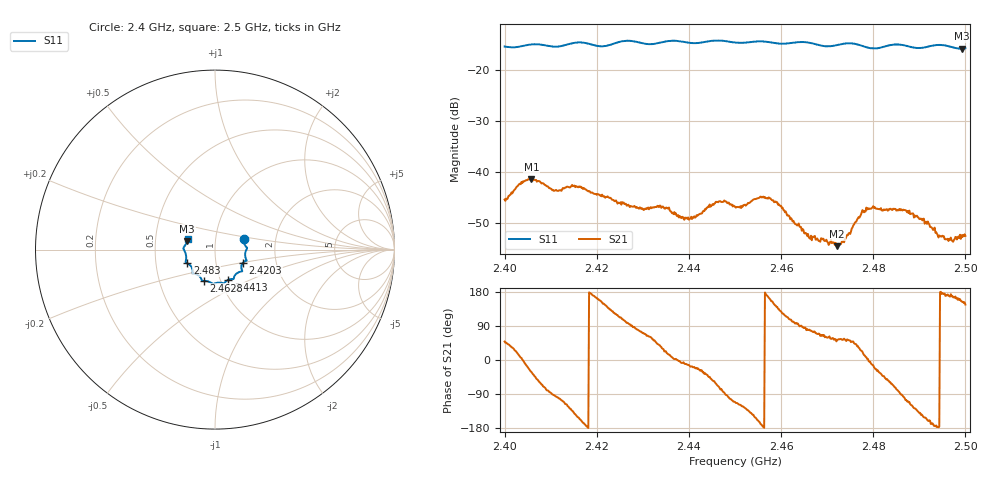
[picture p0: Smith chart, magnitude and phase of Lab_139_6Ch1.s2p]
# Hz S RI R 50
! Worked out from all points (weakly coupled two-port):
!   601 points, 2.4 GHz to 2.5 GHz, reference 50 ohm
!   highest |S21| = -41.29 dB at 2.4058 GHz (marker M1); lowest = -54.5 dB at 2.4722 GHz (marker M2)
!   lowest |S11| = -15.8 dB at 2.4992 GHz (marker M3), VSWR 1.39, Z = 36.4 + j3.53 ohm
!   |S11| at or under -10 dB: start of sweep to end of sweep
!   S12 and S22 are empty: the file has one direction only
!   S11 on the Smith chart (normalised r, x): 2.4 GHz: 1.37, +0.16; 2.4203 GHz: 1.35, -0.21; 2.4413 GHz: 1.09, -0.38; 2.4628 GHz: 0.83, -0.30; 2.483 GHz: 0.72, -0.11; 2.5 GHz: 0.73, +0.09
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2.4e9  0.1606 0.0568  0.00357 0.00407  0 0  0 0
2.405833e9  0.178 0.0107  0.00732 -0.00455  0 0  0 0
2.410833e9  0.1684 -0.0191  -0.000374 -0.00658  0 0  0 0
2.416667e9  0.176 -0.0613  -0.00664 -0.00237  0 0  0 0
2.420333e9  0.1552 -0.0738  -0.00573 0.00201  0 0  0 0
2.430167e9  0.131 -0.1268  0.00138 0.00404  0 0  0 0
2.433333e9  0.1079 -0.1484  0.00349 0.00308  0 0  0 0
2.438833e9  0.095 -0.1633  0.00349 -0.000375  0 0  0 0
2.441333e9  0.0743 -0.168  0.00335 -0.00131  0 0  0 0
2.446333e9  0.0492 -0.1887  0.00184 -0.00475  0 0  0 0
2.45e9  0.0294 -0.1838  -0.00164 -0.00432  0 0  0 0
2.457333e9  -0.0185 -0.1872  -0.00547 0.00155  0 0  0 0
2.462833e9  -0.0631 -0.1748  -0.000532 0.0032  0 0  0 0
2.466667e9  -0.0742 -0.1676  0.000514 0.0021  0 0  0 0
2.472167e9  -0.1124 -0.1351  0.00115 0.0015  0 0  0 0
2.478e9  -0.1244 -0.1163  0.00395 0.000925  0 0  0 0
2.483e9  -0.1548 -0.0765  0.00278 -0.00334  0 0  0 0
2.483333e9  -0.1569 -0.0755  0.00252 -0.00353  0 0  0 0
2.487333e9  -0.1619 -0.0588  -0.00134 -0.00384  0 0  0 0
2.496e9  -0.172 0.016  -0.00218 0.000365  0 0  0 0
2.499167e9  -0.1549 0.0472  -0.0022 0.00101  0 0  0 0
2.5e9  -0.1527 0.0586  -0.00198 0.00132  0 0  0 0
